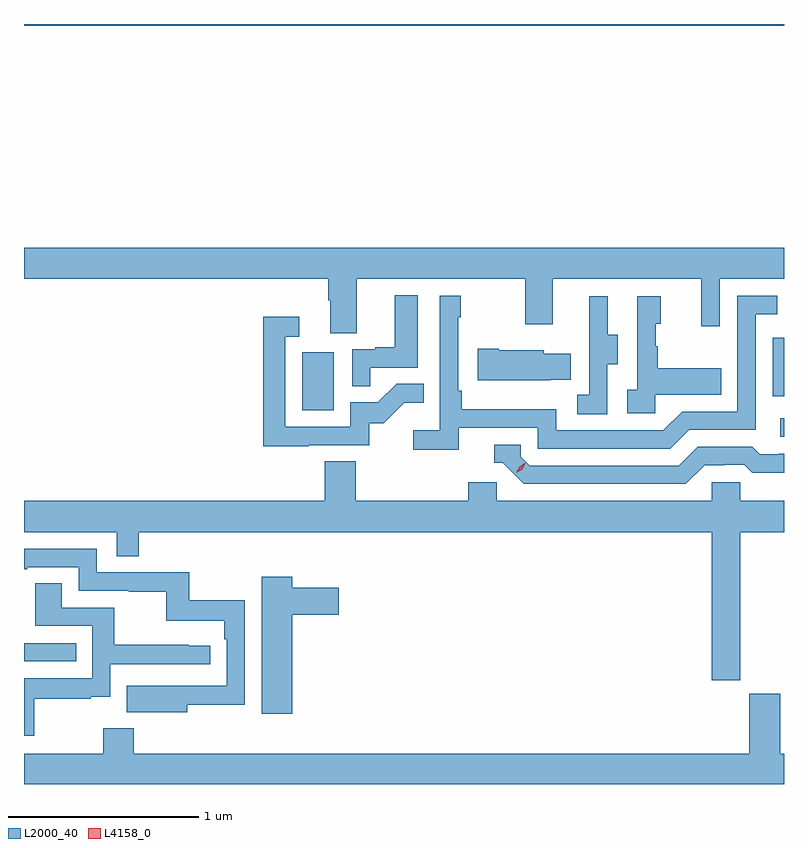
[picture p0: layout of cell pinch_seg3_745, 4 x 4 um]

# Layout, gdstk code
import gdstk
lib = gdstk.Library(unit=1e-6, precision=1e-09)
def R(c, l, rs):  # rectangles x0, y0, x1, y1
    for r in rs: c.add(gdstk.rectangle(r[:2], r[2:], *l))
def P(c, l, *ps):  # polygons
    for p in ps: c.add(gdstk.Polygon(p, *l))
L2000_40 = (2000, 40)
L4158_0 = (4158, 0)

pinch_seg3_745 = lib.new_cell('pinch_seg3_745')
R(pinch_seg3_745, L2000_40, [(843.397,729.54,843.671,729.636), (847.377,730.722,847.397,730.818), (844.862,730.86,845.026,731.167), (847.338,730.935,847.397,731.244), (843.397,732.884,847.397,732.894)])
P(pinch_seg3_745, L2000_40, [(845.149,731.552),(846.034,731.552),(846.034,731.313),(846.181,731.313),(846.181,731.552),(846.962,731.552),(846.962,731.304),(847.059,731.304),(847.059,731.552),(847.397,731.552),(847.397,731.716),(843.397,731.716),(843.397,731.552),(844.997,731.552),(844.997,731.44),(845.009,731.44),(845.009,731.266),(845.149,731.266)],
  [(845.219,731.085),(845.47,731.085),(845.47,731.467),(845.348,731.467),(845.348,731.194),(845.245,731.194),(845.245,731.181),(845.124,731.181),(845.124,730.987),(845.219,730.987)],
  [(845.684,730.77),(846.102,730.77),(846.102,730.659),(846.799,730.659),(846.898,730.758),(847.248,730.758),(847.248,731.367),(847.361,731.367),(847.361,731.463),(847.152,731.463),(847.152,730.854),(846.861,730.854),(846.762,730.755),(846.198,730.755),(846.198,730.867),(845.702,730.867),(845.702,730.963),(845.682,730.963),(845.682,731.351),(845.695,731.351),(845.695,731.464),(845.586,731.464),(845.586,730.756),(845.445,730.756),(845.445,730.654),(845.684,730.654)],
  [(846.468,731.104),(846.523,731.104),(846.523,731.259),(846.469,731.259),(846.469,731.461),(846.371,731.461),(846.371,731.247),(846.372,731.247),(846.372,730.943),(846.309,730.943),(846.309,730.84),(846.468,730.84)],
  [(846.72,730.943),(847.067,730.943),(847.067,731.083),(846.733,731.083),(846.733,731.198),(846.723,731.198),(846.723,731.316),(846.748,731.316),(846.748,731.461),(846.624,731.461),(846.624,730.97),(846.573,730.97),(846.573,730.845),(846.72,730.845)],
  [(844.895,730.677),(845.214,730.677),(845.214,730.794),(845.29,730.794),(845.397,730.901),(845.501,730.901),(845.501,731),(845.358,731),(845.26,730.902),(845.115,730.902),(845.115,730.773),(844.773,730.773),(844.773,731.247),(844.846,731.247),(844.846,731.353),(844.657,731.353),(844.657,730.672),(844.895,730.672)],
  [(846.167,731.021),(846.275,731.021),(846.275,731.158),(846.132,731.158),(846.132,731.176),(845.896,731.176),(845.896,731.184),(845.784,731.184),(845.784,731.018),(846.167,731.018)],
  [(846.979,730.572),(847.086,730.572),(847.086,730.575),(847.189,730.575),(847.231,730.533),(847.397,730.533),(847.397,730.632),(847.369,730.632),(847.369,730.629),(847.27,730.629),(847.231,730.668),(846.942,730.668),(846.843,730.569),(846.06,730.569),(846.012,730.617),(846.012,730.68),(845.873,730.68),(845.873,730.584),(845.916,730.584),(846.027,730.473),(846.88,730.473)],
  [(845.886,730.482),(845.735,730.482),(845.735,730.384),(845.144,730.384),(845.144,730.592),(844.979,730.592),(844.979,730.384),(843.397,730.384),(843.397,730.22),(843.885,730.22),(843.885,730.093),(844.001,730.093),(844.001,730.22),(847.016,730.22),(847.016,729.441),(847.168,729.441),(847.168,730.22),(847.397,730.22),(847.397,730.384),(847.167,730.384),(847.167,730.482),(847.017,730.482),(847.017,730.384),(845.886,730.384)],
  [(844.255,729.31),(844.56,729.31),(844.56,729.862),(844.267,729.862),(844.267,730.008),(843.78,730.008),(843.78,730.131),(843.397,730.131),(843.397,730.023),(843.415,730.023),(843.415,730.035),(843.684,730.035),(843.684,729.912),(843.949,729.912),(843.949,729.907),(844.146,729.907),(844.146,729.752),(844.451,729.752),(844.451,729.656),(844.464,729.656),(844.464,729.411),(844.151,729.411),(844.151,729.412),(843.937,729.412),(843.937,729.272),(844.255,729.272)],
  [(844.81,729.785),(845.053,729.785),(845.053,729.927),(844.81,729.927),(844.81,729.985),(844.649,729.985),(844.649,729.264),(844.81,729.264)],
  [(843.451,729.342),(843.749,729.342),(843.749,729.353),(843.852,729.353),(843.852,729.525),(844.378,729.525),(844.378,729.621),(844.265,729.621),(844.265,729.626),(843.872,729.626),(843.872,729.822),(843.595,729.822),(843.595,729.95),(843.455,729.95),(843.455,729.726),(843.756,729.726),(843.756,729.45),(843.397,729.45),(843.397,729.147),(843.451,729.147)],
  [(847.397,729.052),(847.378,729.052),(847.378,729.369),(847.214,729.369),(847.214,729.052),(843.974,729.052),(843.974,729.187),(843.814,729.187),(843.814,729.052),(843.397,729.052),(843.397,728.894),(847.397,728.894)])
P(pinch_seg3_745, L4158_0, [(845.989,730.531),(845.989,730.531),(846.005,730.564),(846.035,730.584),(846.035,730.584),(846.035,730.583),(846.02,730.551),(845.989,730.531)])

lib.write_gds('pinch_seg3_745.gds')
